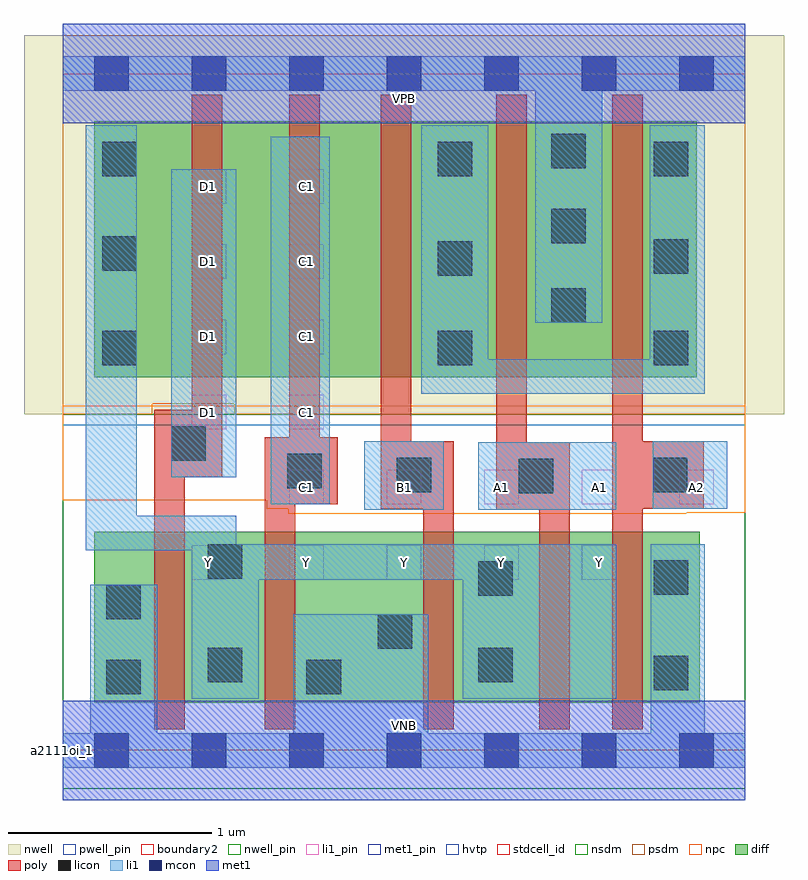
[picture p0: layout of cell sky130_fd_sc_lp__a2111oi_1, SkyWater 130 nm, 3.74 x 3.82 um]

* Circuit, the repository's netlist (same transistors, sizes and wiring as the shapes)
* Copyright 2020 The SkyWater PDK Authors
*
* Licensed under the Apache License, Version 2.0 (the "License");
* you may not use this file except in compliance with the License.
* You may obtain a copy of the License at
*
*     https://www.apache.org/licenses/LICENSE-2.0
*
* Unless required by applicable law or agreed to in writing, software
* distributed under the License is distributed on an "AS IS" BASIS,
* WITHOUT WARRANTIES OR CONDITIONS OF ANY KIND, either express or implied.
* See the License for the specific language governing permissions and
* limitations under the License.
*
* SPDX-License-Identifier: Apache-2.0

.SUBCKT sky130_fd_sc_lp__a2111oi_1 A1 A2 B1 C1 D1 VGND VNB VPB VPWR Y
*.PININFO A1:I A2:I B1:I C1:I D1:I VGND:I VNB:I VPB:I VPWR:I Y:O
MMPA0 pndA A1 VPWR VPB sky130_fd_pr__pfet_01v8_hvt m=1 w=1.26U l=0.15U mult=1 sa=0.265
+ sb=0.265 sd=0.28 area=0.063 perim=1.14
MMPA1 pndA A2 VPWR VPB sky130_fd_pr__pfet_01v8_hvt m=1 w=1.26U l=0.15U mult=1 sa=0.265
+ sb=0.265 sd=0.28 area=0.063 perim=1.14
MMPB0 pndB B1 pndA VPB sky130_fd_pr__pfet_01v8_hvt m=1 w=1.26U l=0.15U mult=1 sa=0.265
+ sb=0.265 sd=0.28 area=0.063 perim=1.14
MMPC0 pndC C1 pndB VPB sky130_fd_pr__pfet_01v8_hvt m=1 w=1.26U l=0.15U mult=1 sa=0.265
+ sb=0.265 sd=0.28 area=0.063 perim=1.14
MMPD0 Y D1 pndC VPB sky130_fd_pr__pfet_01v8_hvt m=1 w=1.26U l=0.15U mult=1 sa=0.265
+ sb=0.265 sd=0.28 area=0.063 perim=1.14
MMNA0 Y A1 sndA1 VNB sky130_fd_pr__nfet_01v8 m=1 w=0.84U l=0.15U mult=1 sa=0.265
+ sb=0.265 sd=0.28 area=0.063 perim=1.14
MMNA1 sndA1 A2 VGND VNB sky130_fd_pr__nfet_01v8 m=1 w=0.84U l=0.15U mult=1 sa=0.265
+ sb=0.265 sd=0.28 area=0.063 perim=1.14
MMNB0 Y B1 VGND VNB sky130_fd_pr__nfet_01v8 m=1 w=0.84U l=0.15U mult=1 sa=0.265
+ sb=0.265 sd=0.28 area=0.063 perim=1.14
MMNC0 Y C1 VGND VNB sky130_fd_pr__nfet_01v8 m=1 w=0.84U l=0.15U mult=1 sa=0.265
+ sb=0.265 sd=0.28 area=0.063 perim=1.14
MMND0 Y D1 VGND VNB sky130_fd_pr__nfet_01v8 m=1 w=0.84U l=0.15U mult=1 sa=0.265
+ sb=0.265 sd=0.28 area=0.063 perim=1.14
.ENDS sky130_fd_sc_lp__a2111oi_1

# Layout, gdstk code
import gdstk
lib = gdstk.Library(unit=1e-6, precision=1e-09)
def R(c, l, rs):  # rectangles x0, y0, x1, y1
    for r in rs: c.add(gdstk.rectangle(r[:2], r[2:], *l))
def A(c, l, x, y, w, h, nx, ny, dx, dy):  # array of equal rectangles
    R(c, l, [(x+i*dx, y+j*dy, x+i*dx+w, y+j*dy+h) for i in range(nx) for j in range(ny)])
def P(c, l, *ps):  # polygons
    for p in ps: c.add(gdstk.Polygon(p, *l))
nwell_pin = (64, 16)
nwell = (64, 20)
diff = (65, 20)
poly = (66, 20)
licon = (66, 44)
li1_pin = (67, 16)
li1 = (67, 20)
mcon = (67, 44)
met1_pin = (68, 16)
met1 = (68, 20)
hvtp = (78, 44)
stdcell_id = (81, 4)
nsdm = (93, 44)
psdm = (94, 20)
npc = (95, 20)
pwell_pin = (122, 16)
boundary2 = (236, 0)

sky130_fd_sc_lp__a2111oi = lib.new_cell('sky130_fd_sc_lp__a2111oi_1')
R(sky130_fd_sc_lp__a2111oi, nwell_pin, [(0,3.085,3.36,3.33)])
R(sky130_fd_sc_lp__a2111oi, nwell, [(-0.19,1.655,3.55,3.52)])
R(sky130_fd_sc_lp__a2111oi, diff, [(0.155,0.235,3.135,1.075), (0.155,1.835,3.12,3.095)])
P(sky130_fd_sc_lp__a2111oi, poly, [(0.785,3.225),(0.635,3.225),(0.635,1.675),(0.45,1.675),(0.45,0.105),(0.6,0.105),(0.6,1.345),(0.785,1.345)],
  [(1.355,1.54),(1.265,1.54),(1.265,3.225),(1.115,3.225),(1.115,1.54),(0.995,1.54),(0.995,0.105),(1.145,0.105),(1.145,1.21),(1.355,1.21)],
  [(1.925,1.52),(1.715,1.52),(1.715,3.225),(1.565,3.225),(1.565,1.19),(1.775,1.19),(1.775,0.105),(1.925,0.105)],
  [(2.495,1.515),(2.285,1.515),(2.285,3.225),(2.135,3.225),(2.135,1.185),(2.345,1.185),(2.345,0.105),(2.495,0.105)],
  [(3.155,1.52),(2.855,1.52),(2.855,3.225),(2.705,3.225),(2.705,0.105),(2.855,0.105),(2.855,1.19),(3.155,1.19)])
A(sky130_fd_sc_lp__a2111oi, licon, 0.195, 1.895, 0.17, 0.17, 1, 3, 0, 0.465)
R(sky130_fd_sc_lp__a2111oi, licon, [(0.215,0.275,0.385,0.445), (1.2,0.275,1.37,0.445), (2.91,0.295,3.08,0.465), (0.715,0.335,0.885,0.505), (2.045,0.335,2.215,0.505), (1.55,0.5,1.72,0.67), (0.215,0.645,0.385,0.815), (2.045,0.76,2.215,0.93), (2.91,0.765,3.08,0.935), (0.715,0.845,0.885,1.015), (2.245,1.265,2.415,1.435), (1.645,1.27,1.815,1.44), (2.905,1.27,3.075,1.44), (1.105,1.29,1.275,1.46), (0.535,1.425,0.705,1.595), (1.845,1.895,2.015,2.065), (2.91,1.895,3.08,2.065), (2.405,2.105,2.575,2.275), (1.845,2.335,2.015,2.505), (2.91,2.345,3.08,2.515), (2.405,2.495,2.575,2.665), (1.845,2.825,2.015,2.995), (2.91,2.825,3.08,2.995), (2.405,2.865,2.575,3.035)])
A(sky130_fd_sc_lp__a2111oi, li1_pin, 0.635, 0.84, 0.17, 0.17, 5, 1, 0.48, 0)
A(sky130_fd_sc_lp__a2111oi, li1_pin, 1.115, 1.21, 0.17, 0.17, 5, 1, 0.48, 0)
A(sky130_fd_sc_lp__a2111oi, li1_pin, 0.635, 1.58, 0.17, 0.17, 1, 4, 0, 0.37)
A(sky130_fd_sc_lp__a2111oi, li1_pin, 1.115, 1.58, 0.17, 0.17, 1, 4, 0, 0.37)
R(sky130_fd_sc_lp__a2111oi, li1, [(1.485,1.185,1.875,1.52), (2.045,1.185,2.725,1.515), (2.905,1.19,3.27,1.52), (1.025,1.21,1.315,3.02), (0.535,1.345,0.855,2.86)])
P(sky130_fd_sc_lp__a2111oi, li1, [(3.16,3.075),(2.89,3.075),(2.89,1.925),(2.095,1.925),(2.095,3.075),(1.765,3.075),(1.765,1.755),(3.16,1.755)],
  [(3.36,3.415),(0,3.415),(0,3.245),(2.325,3.245),(2.325,2.105),(2.655,2.105),(2.655,3.245),(3.36,3.245)],
  [(3.36,0.085),(3.16,0.085),(3.16,1.015),(2.895,1.015),(2.895,0.085),(1.8,0.085),(1.8,0.67),(1.135,0.67),(1.135,0.085),(0.465,0.085),(0.465,0.815),(0.135,0.815),(0.135,0.085),(0,0.085),(0,-0.085),(3.36,-0.085)],
  [(2.725,1.015),(0.855,1.015),(0.855,1.155),(0.365,1.155),(0.365,3.075),(0.115,3.075),(0.115,0.985),(0.635,0.985),(0.635,0.255),(0.965,0.255),(0.965,0.84),(1.97,0.84),(1.97,0.255),(2.725,0.255)])
A(sky130_fd_sc_lp__a2111oi, mcon, 0.155, -0.085, 0.17, 0.17, 7, 2, 0.48, 3.33)
R(sky130_fd_sc_lp__a2111oi, met1_pin, [(0,0,3.36,0.245), (0,3.085,3.36,3.33)])
R(sky130_fd_sc_lp__a2111oi, met1, [(0,-0.245,3.36,0.245), (0,3.085,3.36,3.575)])
R(sky130_fd_sc_lp__a2111oi, hvtp, [(0,1.6,3.36,3.33)])
R(sky130_fd_sc_lp__a2111oi, stdcell_id, [(0,0,3.36,3.33)])
R(sky130_fd_sc_lp__a2111oi, nsdm, [(0,-0.19,3.36,1.655)])
P(sky130_fd_sc_lp__a2111oi, psdm, [(3.36,3.52),(0,3.52),(0,1.655),(0.44,1.655),(0.44,1.705),(0.845,1.705),(0.845,1.655),(3.36,1.655)])
P(sky130_fd_sc_lp__a2111oi, npc, [(3.36,1.695),(0,1.695),(0,1.23),(1.005,1.23),(1.005,1.19),(1.11,1.19),(1.11,1.165),(3.07,1.165),(3.07,1.17),(3.36,1.17)])
R(sky130_fd_sc_lp__a2111oi, pwell_pin, [(0,0,3.36,0.245)])
R(sky130_fd_sc_lp__a2111oi, boundary2, [(0,0,3.36,3.33)])
sky130_fd_sc_lp__a2111oi.add(gdstk.Label('VNB', (1.68,0.123), layer=64, texttype=59))
sky130_fd_sc_lp__a2111oi.add(gdstk.Label('VPB', (1.68,3.208), layer=64, texttype=5))
sky130_fd_sc_lp__a2111oi.add(gdstk.Label('a2111oi_1', (0,0), layer=83, texttype=44))
sky130_fd_sc_lp__a2111oi.add(gdstk.Label('VPWR', (1.68,3.208), layer=68, texttype=5))
sky130_fd_sc_lp__a2111oi.add(gdstk.Label('VGND', (1.68,0.123), layer=68, texttype=5))
sky130_fd_sc_lp__a2111oi.add(gdstk.Label('A1', (2.16,1.295), layer=67, texttype=5))
sky130_fd_sc_lp__a2111oi.add(gdstk.Label('A1', (2.64,1.295), layer=67, texttype=5))
sky130_fd_sc_lp__a2111oi.add(gdstk.Label('A2', (3.12,1.295), layer=67, texttype=5))
sky130_fd_sc_lp__a2111oi.add(gdstk.Label('B1', (1.68,1.295), layer=67, texttype=5))
sky130_fd_sc_lp__a2111oi.add(gdstk.Label('C1', (1.2,1.295), layer=67, texttype=5))
sky130_fd_sc_lp__a2111oi.add(gdstk.Label('C1', (1.2,1.665), layer=67, texttype=5))
sky130_fd_sc_lp__a2111oi.add(gdstk.Label('C1', (1.2,2.035), layer=67, texttype=5))
sky130_fd_sc_lp__a2111oi.add(gdstk.Label('C1', (1.2,2.405), layer=67, texttype=5))
sky130_fd_sc_lp__a2111oi.add(gdstk.Label('C1', (1.2,2.775), layer=67, texttype=5))
sky130_fd_sc_lp__a2111oi.add(gdstk.Label('D1', (0.72,1.665), layer=67, texttype=5))
sky130_fd_sc_lp__a2111oi.add(gdstk.Label('D1', (0.72,2.035), layer=67, texttype=5))
sky130_fd_sc_lp__a2111oi.add(gdstk.Label('D1', (0.72,2.405), layer=67, texttype=5))
sky130_fd_sc_lp__a2111oi.add(gdstk.Label('D1', (0.72,2.775), layer=67, texttype=5))
sky130_fd_sc_lp__a2111oi.add(gdstk.Label('Y', (0.72,0.925), layer=67, texttype=5))
sky130_fd_sc_lp__a2111oi.add(gdstk.Label('Y', (1.2,0.925), layer=67, texttype=5))
sky130_fd_sc_lp__a2111oi.add(gdstk.Label('Y', (1.68,0.925), layer=67, texttype=5))
sky130_fd_sc_lp__a2111oi.add(gdstk.Label('Y', (2.16,0.925), layer=67, texttype=5))
sky130_fd_sc_lp__a2111oi.add(gdstk.Label('Y', (2.64,0.925), layer=67, texttype=5))

lib.write_gds('sky130_fd_sc_lp__a2111oi_1.gds')
